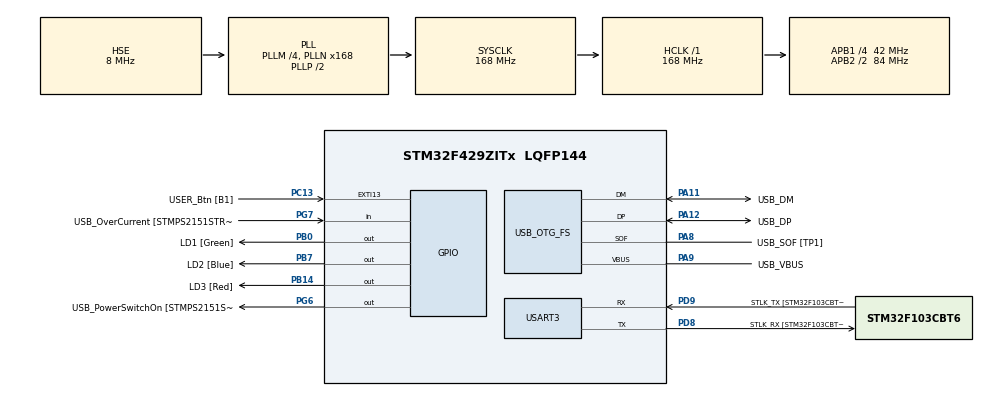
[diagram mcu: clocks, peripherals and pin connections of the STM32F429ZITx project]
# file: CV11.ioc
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Mcu.Family=STM32F4
Mcu.Name=STM32F429ZITx
Mcu.Package=LQFP144
NVIC.OTG_FS_IRQn=true\:0\:0\:false\:false\:true\:false\:true\:true
NVIC.PriorityGroup=NVIC_PRIORITYGROUP_4
PA1.GPIO_Label=RMII_REF_CLK [LAN8742A-CZ-TR_REFCLK0]
PA1.Signal=ETH_REF_CLK
PA10.GPIO_Label=USB_ID
PA10.Signal=USB_OTG_FS_ID
PA11.GPIO_Label=USB_DM
PA11.Mode=Device_Only
PA11.Signal=USB_OTG_FS_DM
PA12.GPIO_Label=USB_DP
PA12.Mode=Device_Only
PA12.Signal=USB_OTG_FS_DP
PA13.GPIO_Label=TMS
PA13.Mode=Serial_Wire
PA13.Signal=SYS_JTMS-SWDIO
PA14.GPIO_Label=TCK
PA14.Mode=Serial_Wire
PA14.Signal=SYS_JTCK-SWCLK
PA2.GPIO_Label=RMII_MDIO [LAN8742A-CZ-TR_MDIO]
PA2.Signal=ETH_MDIO
PA7.GPIO_Label=RMII_CRS_DV [LAN8742A-CZ-TR_CRS_DV]
PA7.Signal=ETH_CRS_DV
PA8.GPIO_Label=USB_SOF [TP1]
PA8.Mode=Activate_SOF_FS
PA8.Signal=USB_OTG_FS_SOF
PA9.GPIO_Label=USB_VBUS
PA9.Mode=Activate_VBUS
PA9.Signal=USB_OTG_FS_VBUS
PB0.GPIO_Label=LD1 [Green]
PB0.Signal=GPIO_Output
PB13.GPIO_Label=RMII_TXD1 [LAN8742A-CZ-TR_TXD1]
PB13.Signal=ETH_TXD1
PB14.GPIO_Label=LD3 [Red]
PB14.Signal=GPIO_Output
PB7.GPIO_Label=LD2 [Blue]
PB7.Signal=GPIO_Output
PC1.GPIO_Label=RMII_MDC [LAN8742A-CZ-TR_MDC]
PC1.Signal=ETH_MDC
PC13.GPIO_Label=USER_Btn [B1]
PC13.Signal=GPXTI13
PC14/OSC32_IN.Mode=LSE-External-Oscillator
PC14/OSC32_IN.Signal=RCC_OSC32_IN
PC15/OSC32_OUT.Mode=LSE-External-Oscillator
PC15/OSC32_OUT.Signal=RCC_OSC32_OUT
PC4.GPIO_Label=RMII_RXD0 [LAN8742A-CZ-TR_RXD0]
PC4.Signal=ETH_RXD0
PC5.GPIO_Label=RMII_RXD1 [LAN8742A-CZ-TR_RXD1]
PC5.Signal=ETH_RXD1
PD8.GPIO_Label=STLK_RX [STM32F103CBT6_PA3]
PD8.Mode=Asynchronous
PD8.Signal=USART3_TX
PD9.GPIO_Label=STLK_TX [STM32F103CBT6_PA2]
PD9.Mode=Asynchronous
PD9.Signal=USART3_RX
PG11.GPIO_Label=RMII_TX_EN [LAN8742A-CZ-TR_TXEN]
PG11.Signal=ETH_TX_EN
PG13.GPIO_Label=RMII_TXD0 [LAN8742A-CZ-TR_TXD0]
PG13.Signal=ETH_TXD0
PG6.GPIO_Label=USB_PowerSwitchOn [STMPS2151STR_EN]
PG6.Signal=GPIO_Output
PG7.GPIO_Label=USB_OverCurrent [STMPS2151STR_FAULT]
PG7.Signal=GPIO_Input
PH0/OSC_IN.GPIO_Label=MCO [STM32F103CBT6_PA8]
PH0/OSC_IN.Mode=HSE-External-Clock-Source
PH0/OSC_IN.Signal=RCC_OSC_IN
PH1/OSC_OUT.Mode=HSE-External-Clock-Source
PH1/OSC_OUT.Signal=RCC_OSC_OUT
ProjectManager.HeapSize=0x200
ProjectManager.StackSize=0x400
ProjectManager.TargetToolchain=STM32CubeIDE
RCC.48MHZClocksFreq_Value=48000000
RCC.AHBFreq_Value=168000000
RCC.APB1CLKDivider=RCC_HCLK_DIV4
RCC.APB1Freq_Value=42000000
RCC.APB1TimFreq_Value=84000000
RCC.APB2CLKDivider=RCC_HCLK_DIV2
RCC.APB2Freq_Value=84000000
RCC.APB2TimCLKDivider=2
RCC.APB2TimFreq_Value=168000000
RCC.CortexFreq_Value=168000000
RCC.HCLKFreq_Value=168000000
RCC.HSE_VALUE=8000000
RCC.HSI_VALUE=16000000
RCC.PLLM=4
RCC.PLLMUL=RCC_PLL_MUL9
RCC.PLLN=168
RCC.PLLQ=7
RCC.PRESCALERUSB=RCC_USBCLKSOURCE_PLL_DIV1_5
RCC.SYSCLKFreq_VALUE=168000000
RCC.SYSCLKSource=RCC_SYSCLKSOURCE_PLLCLK
RCC.SYSCLKSourceVirtual=RCC_SYSCLKSOURCE_PLLCLK
RCC.USBFreq_Value=48000000
RCC.VCOOutputFreq_Value=336000000
USART3.VirtualMode=VM_ASYNC
USB_DEVICE.CLASS_NAME_FS=HID
USB_DEVICE.USBD_MAX_NUM_CONFIGURATION-HID_FS=1
USB_DEVICE.USBD_MAX_NUM_INTERFACES-HID_FS=1
USB_DEVICE.VirtualMode-HID_FS=Hid
USB_DEVICE.VirtualModeFS=Hid_FS
USB_OTG_FS.VirtualMode=Device_Only
VP_USB_DEVICE_VS_USB_DEVICE_HID_FS.Mode=HID_FS
board=NUCLEO-F429ZI

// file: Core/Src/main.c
/* USER CODE BEGIN Header */
/**
  ******************************************************************************
  * @file           : main.c
  * @brief          : Main program body
  ******************************************************************************
  * @attention
  *
  * Copyright (c) 2024 STMicroelectronics.
  * All rights reserved.
  *
  * This software is licensed under terms that can be found in the LICENSE file
  * in the root directory of this software component.
  * If no LICENSE file comes with this software, it is provided AS-IS.
  *
  ******************************************************************************
  */
/* USER CODE END Header */
#include "main.h"
#include "usb_device.h"

/* USER CODE BEGIN Includes */
#include "usbd_hid.h"
#include <stdbool.h>
#include <math.h>
/* USER CODE END Includes */

/* USER CODE BEGIN PD */
#define PI_F 3.14159265359f
/* USER CODE END PD */

UART_HandleTypeDef huart3;

/* USER CODE BEGIN PV */
extern USBD_HandleTypeDef hUsbDeviceFS;

/* USER CODE END PV */

void SystemClock_Config(void);
static void MX_GPIO_Init(void);
static void MX_USART3_UART_Init(void);
/* USER CODE BEGIN PFP */
void openMSPaint(void)
{
	uint8_t buff[9];
	buff[0] = 0x01; //keyboard descriptor
	buff[1] = 0x08; // modifier
	buff[2] = 0x00; // reserved
	buff[3] = 0x15; // keycode 1
	buff[4] = 0x00; // keycode 2
	buff[5] = 0x00; // keycode 3
	buff[6] = 0x00; // keycode 4
	buff[7] = 0x00; // keycode 5
	buff[8] = 0x00; // keycode 6

	USBD_HID_SendReport(&hUsbDeviceFS, buff, sizeof (buff));
	HAL_Delay (100);
	buff[1] = 0x00;
	buff[3] = 0x00;
	USBD_HID_SendReport(&hUsbDeviceFS, buff, sizeof (buff));
	HAL_Delay (100);
	buff[3] = 0x10; // keycode 1
	buff[4] = 0x16; // keycode 2
	buff[5] = 0x13; // keycode 3
	buff[6] = 0x04; // keycode 4
	buff[7] = 0x0c; // keycode 5
	buff[8] = 0x11; // keycode 6
	USBD_HID_SendReport(&hUsbDeviceFS, buff, sizeof (buff));
	HAL_Delay (100);
	buff[3] = 0x00; // keycode 1
	buff[4] = 0x00; // keycode 2
	buff[5] = 0x00; // keycode 3
	buff[6] = 0x00; // keycode 4
	buff[7] = 0x00; // keycode 5
	buff[8] = 0x00; // keycode 6
	USBD_HID_SendReport(&hUsbDeviceFS, buff, sizeof (buff));
	HAL_Delay (100);
	buff[3] = 0x17; // keycode 1
	buff[4] = 0x28; // keycode 2
	USBD_HID_SendReport(&hUsbDeviceFS, buff, sizeof (buff));
	HAL_Delay (100);
	buff[3] = 0x00; // keycode 1
	buff[4] = 0x00; // keycode 2
	USBD_HID_SendReport(&hUsbDeviceFS, buff, sizeof (buff));
	HAL_Delay (100);

}

void step(int32_t x, int32_t y, bool btn)
{
	uint8_t buff[5];
	buff[0] = 0x02; //mouse descriptor
	buff[1] = btn; // press the left button
	buff[2] = (int8_t)(x); // shift X
	buff[3] = (int8_t)(y); // shift Y
	buff[4] = 0; // no scroll
	USBD_HID_SendReport(&hUsbDeviceFS, buff, sizeof(buff));
	HAL_Delay(2*USBD_HID_GetPollingInterval(&hUsbDeviceFS));

}

void circle(int32_t radius, float startAngle, float stopAngle)
{
	int32_t oldX = radius * cosf(startAngle);
	int32_t oldY = radius * sinf(startAngle);
	int32_t x = 0;
	int32_t y = 0;
	for(float angle = startAngle; angle <= stopAngle; angle += PI_F/150)
	{
		x = radius * cosf(angle);
		y = radius * sinf(angle);
		int32_t dx = oldX-x;
		int32_t dy = oldY-y;
		step(dx, dy, 1);
		oldX -= dx;
		oldY -= dy;
	}
	//declick
	step(0, 0, 0);

}

void drawFace(void)
{
	//draw main circle
	circle(200, -PI_F/2.0, 2.0*PI_F-PI_F/2.0);
	step(35, 200, 0);
	//draw mouth
	circle(120, -PI_F/2.0f-PI_F/4.0f, -PI_F/2.0f+PI_F/4.0f);
	//draw nose
	step(35, -30, 0);
	step(0, 0, 1);
	step(0, -30, 0);
	step(30, -10, 0);
	//draw right eye
	circle(20, -PI_F/2.0, 2.0*PI_F-PI_F/2.0);
	step(-80, 0, 0);
	//draw left eye
	circle(20, -PI_F/2.0, 2.0*PI_F-PI_F/2.0);
}
/* USER CODE END PFP */

int main(void)
{

  /* MCU Configuration--------------------------------------------------------*/

  /* Reset of all peripherals, Initializes the Flash interface and the Systick. */
  HAL_Init();

  /* Configure the system clock */
  SystemClock_Config();

  /* Initialize all configured peripherals */
  MX_GPIO_Init();
  MX_USART3_UART_Init();
  MX_USB_DEVICE_Init();

  /* Infinite loop */
  /* USER CODE BEGIN WHILE */
  while (1)
  {
	  if(HAL_GPIO_ReadPin(USER_Btn_GPIO_Port, USER_Btn_Pin) == 1)
	  {
		  /*openMSPaint();
		  HAL_Delay(500);
		  step(0,0,0);
		  for(uint8_t i = 0; i < 10; i++)
		  {
			  step(-127, 127, 0);
		  }
		  HAL_Delay(500);
		  step(127, -127, 0);
		  HAL_Delay(2000);*/
		  drawFace();

	  }
    /* USER CODE END WHILE */

  }
}

void SystemClock_Config(void)
{
  RCC_OscInitTypeDef RCC_OscInitStruct = {0};
  RCC_ClkInitTypeDef RCC_ClkInitStruct = {0};

  /** Configure the main internal regulator output voltage
  */
  __HAL_RCC_PWR_CLK_ENABLE();
  __HAL_PWR_VOLTAGESCALING_CONFIG(PWR_REGULATOR_VOLTAGE_SCALE1);

  /** Initializes the RCC Oscillators according to the specified parameters
  * in the RCC_OscInitTypeDef structure.
  */
  RCC_OscInitStruct.OscillatorType = RCC_OSCILLATORTYPE_HSE;
  RCC_OscInitStruct.HSEState = RCC_HSE_BYPASS;
  RCC_OscInitStruct.PLL.PLLState = RCC_PLL_ON;
  RCC_OscInitStruct.PLL.PLLSource = RCC_PLLSOURCE_HSE;
  RCC_OscInitStruct.PLL.PLLM = 4;
  RCC_OscInitStruct.PLL.PLLN = 168;
  RCC_OscInitStruct.PLL.PLLP = RCC_PLLP_DIV2;
  RCC_OscInitStruct.PLL.PLLQ = 7;
  if (HAL_RCC_OscConfig(&RCC_OscInitStruct) != HAL_OK)
  {
    Error_Handler();
  }

  /** Initializes the CPU, AHB and APB buses clocks
  */
  RCC_ClkInitStruct.ClockType = RCC_CLOCKTYPE_HCLK|RCC_CLOCKTYPE_SYSCLK
                              |RCC_CLOCKTYPE_PCLK1|RCC_CLOCKTYPE_PCLK2;
  RCC_ClkInitStruct.SYSCLKSource = RCC_SYSCLKSOURCE_PLLCLK;
  RCC_ClkInitStruct.AHBCLKDivider = RCC_SYSCLK_DIV1;
  RCC_ClkInitStruct.APB1CLKDivider = RCC_HCLK_DIV4;
  RCC_ClkInitStruct.APB2CLKDivider = RCC_HCLK_DIV2;

  if (HAL_RCC_ClockConfig(&RCC_ClkInitStruct, FLASH_LATENCY_5) != HAL_OK)
  {
    Error_Handler();
  }
}

static void MX_USART3_UART_Init(void)
{

  huart3.Instance = USART3;
  huart3.Init.BaudRate = 115200;
  huart3.Init.WordLength = UART_WORDLENGTH_8B;
  huart3.Init.StopBits = UART_STOPBITS_1;
  huart3.Init.Parity = UART_PARITY_NONE;
  huart3.Init.Mode = UART_MODE_TX_RX;
  huart3.Init.HwFlowCtl = UART_HWCONTROL_NONE;
  huart3.Init.OverSampling = UART_OVERSAMPLING_16;
  if (HAL_UART_Init(&huart3) != HAL_OK)
  {
    Error_Handler();
  }

}

static void MX_GPIO_Init(void)
{
  GPIO_InitTypeDef GPIO_InitStruct = {0};

  /* GPIO Ports Clock Enable */
  __HAL_RCC_GPIOC_CLK_ENABLE();
  __HAL_RCC_GPIOH_CLK_ENABLE();
  __HAL_RCC_GPIOA_CLK_ENABLE();
  __HAL_RCC_GPIOB_CLK_ENABLE();
  __HAL_RCC_GPIOD_CLK_ENABLE();
  __HAL_RCC_GPIOG_CLK_ENABLE();

  /*Configure GPIO pin Output Level */
  HAL_GPIO_WritePin(GPIOB, LD1_Pin|LD3_Pin|LD2_Pin, GPIO_PIN_RESET);

  /*Configure GPIO pin Output Level */
  HAL_GPIO_WritePin(USB_PowerSwitchOn_GPIO_Port, USB_PowerSwitchOn_Pin, GPIO_PIN_RESET);

  /*Configure GPIO pin : USER_Btn_Pin */
  GPIO_InitStruct.Pin = USER_Btn_Pin;
  GPIO_InitStruct.Mode = GPIO_MODE_IT_RISING;
  GPIO_InitStruct.Pull = GPIO_NOPULL;
  HAL_GPIO_Init(USER_Btn_GPIO_Port, &GPIO_InitStruct);

  /*Configure GPIO pins : RMII_MDC_Pin RMII_RXD0_Pin RMII_RXD1_Pin */
  GPIO_InitStruct.Pin = RMII_MDC_Pin|RMII_RXD0_Pin|RMII_RXD1_Pin;
  GPIO_InitStruct.Mode = GPIO_MODE_AF_PP;
  GPIO_InitStruct.Pull = GPIO_NOPULL;
  GPIO_InitStruct.Speed = GPIO_SPEED_FREQ_VERY_HIGH;
  GPIO_InitStruct.Alternate = GPIO_AF11_ETH;
  HAL_GPIO_Init(GPIOC, &GPIO_InitStruct);

  /*Configure GPIO pins : RMII_REF_CLK_Pin RMII_MDIO_Pin RMII_CRS_DV_Pin */
  GPIO_InitStruct.Pin = RMII_REF_CLK_Pin|RMII_MDIO_Pin|RMII_CRS_DV_Pin;
  GPIO_InitStruct.Mode = GPIO_MODE_AF_PP;
  GPIO_InitStruct.Pull = GPIO_NOPULL;
  GPIO_InitStruct.Speed = GPIO_SPEED_FREQ_VERY_HIGH;
  GPIO_InitStruct.Alternate = GPIO_AF11_ETH;
  HAL_GPIO_Init(GPIOA, &GPIO_InitStruct);

  /*Configure GPIO pins : LD1_Pin LD3_Pin LD2_Pin */
  GPIO_InitStruct.Pin = LD1_Pin|LD3_Pin|LD2_Pin;
  GPIO_InitStruct.Mode = GPIO_MODE_OUTPUT_PP;
  GPIO_InitStruct.Pull = GPIO_NOPULL;
  GPIO_InitStruct.Speed = GPIO_SPEED_FREQ_LOW;
  HAL_GPIO_Init(GPIOB, &GPIO_InitStruct);

  /*Configure GPIO pin : RMII_TXD1_Pin */
  GPIO_InitStruct.Pin = RMII_TXD1_Pin;
  GPIO_InitStruct.Mode = GPIO_MODE_AF_PP;
  GPIO_InitStruct.Pull = GPIO_NOPULL;
  GPIO_InitStruct.Speed = GPIO_SPEED_FREQ_VERY_HIGH;
  GPIO_InitStruct.Alternate = GPIO_AF11_ETH;
  HAL_GPIO_Init(RMII_TXD1_GPIO_Port, &GPIO_InitStruct);

  /*Configure GPIO pin : USB_PowerSwitchOn_Pin */
  GPIO_InitStruct.Pin = USB_PowerSwitchOn_Pin;
  GPIO_InitStruct.Mode = GPIO_MODE_OUTPUT_PP;
  GPIO_InitStruct.Pull = GPIO_NOPULL;
  GPIO_InitStruct.Speed = GPIO_SPEED_FREQ_LOW;
  HAL_GPIO_Init(USB_PowerSwitchOn_GPIO_Port, &GPIO_InitStruct);

  /*Configure GPIO pin : USB_OverCurrent_Pin */
  GPIO_InitStruct.Pin = USB_OverCurrent_Pin;
  GPIO_InitStruct.Mode = GPIO_MODE_INPUT;
  GPIO_InitStruct.Pull = GPIO_NOPULL;
  HAL_GPIO_Init(USB_OverCurrent_GPIO_Port, &GPIO_InitStruct);

  /*Configure GPIO pins : RMII_TX_EN_Pin RMII_TXD0_Pin */
  GPIO_InitStruct.Pin = RMII_TX_EN_Pin|RMII_TXD0_Pin;
  GPIO_InitStruct.Mode = GPIO_MODE_AF_PP;
  GPIO_InitStruct.Pull = GPIO_NOPULL;
  GPIO_InitStruct.Speed = GPIO_SPEED_FREQ_VERY_HIGH;
  GPIO_InitStruct.Alternate = GPIO_AF11_ETH;
  HAL_GPIO_Init(GPIOG, &GPIO_InitStruct);

}

void Error_Handler(void)
{
  __disable_irq();
  while (1)
  {
  }
}
